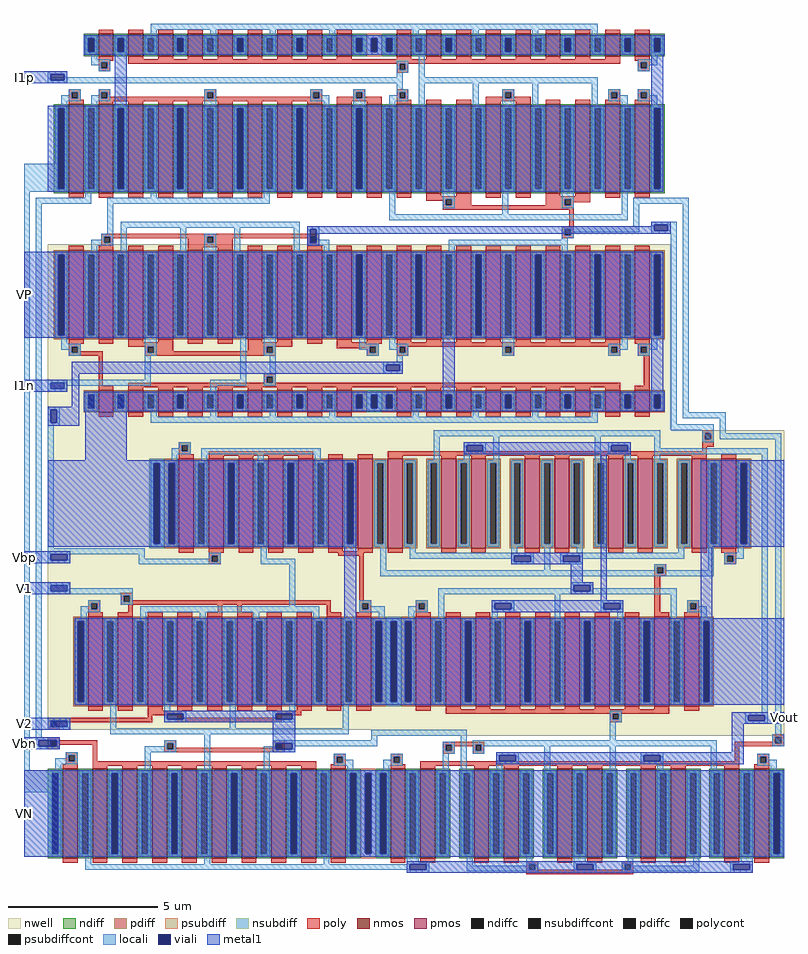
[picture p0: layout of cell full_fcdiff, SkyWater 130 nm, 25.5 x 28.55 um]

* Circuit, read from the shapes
.subckt full_fcdiff I1n I1p V1 V2 VN VP Vbn Vbp Vout
XM1 n1 VN VN VN sky130_fd_pr__nfet_01v8 w=3 l=0.5 m=4
XM2 Vbn VN VN VN sky130_fd_pr__nfet_01v8 w=3 l=0.5 m=2
XM3 VN Vbn n1 VN sky130_fd_pr__nfet_01v8 w=3 l=0.5 m=4
XM4 VN Vbn Vbn VN sky130_fd_pr__nfet_01v8 w=3 l=0.5 m=4
XM5 VN VN VN VN sky130_fd_pr__nfet_01v8 w=0.75 l=0.5 m=2
XM6 n2 Vbn VN VN sky130_fd_pr__nfet_01v8 w=3 l=0.5 m=4
XM7 biasgen_0/Vcp Vbn VN VN sky130_fd_pr__nfet_01v8 w=3 l=0.5 m=4
XM8 n3 I1p VN VN sky130_fd_pr__nfet_01v8 w=0.75 l=0.5 m=16
XM9 I1p VN VN VN sky130_fd_pr__nfet_01v8 w=3 l=0.5 m=2
XM10 n3 I1p I1p VN sky130_fd_pr__nfet_01v8 w=3 l=0.5 m=4
XM11 n4 biasgen_0/Vcn n1 VN sky130_fd_pr__nfet_01v8 w=3 l=0.5 m=4
XM12 biasgen_0/Vcn biasgen_0/Vcn n3 VN sky130_fd_pr__nfet_01v8 w=3 l=0.5 m=4
XM13 Vout biasgen_0/Vcn n2 VN sky130_fd_pr__nfet_01v8 w=3 l=0.5 m=4
XM14 biasgen_0/Vcp VP VP VP sky130_fd_pr__pfet_01v8 w=3 l=0.5 m=2
XM15 n1 VP VP VP sky130_fd_pr__pfet_01v8 w=3 l=0.5 m=2
XM16 VP VP VP VP sky130_fd_pr__pfet_01v8 w=0.75 l=0.5 m=2
XM17 n5 biasgen_0/Vcp biasgen_0/Vcp VP sky130_fd_pr__pfet_01v8 w=3 l=0.5 m=4
XM18 n6 V1 n1 VP sky130_fd_pr__pfet_01v8 w=3 l=0.5 m=4
XM19 n5 I1n VP VP sky130_fd_pr__pfet_01v8 w=0.75 l=0.5 m=16
XM20 I1n I1n n5 VP sky130_fd_pr__pfet_01v8 w=3 l=0.5 m=4
XM21 n2 V2 n6 VP sky130_fd_pr__pfet_01v8 w=3 l=0.5 m=4
XM22 n6 VP VP VP sky130_fd_pr__pfet_01v8 w=3 l=0.5 m=2
XM23 VP Vbp n6 VP sky130_fd_pr__pfet_01v8 w=3 l=0.5 m=4
XM24 n4 VP VP VP sky130_fd_pr__pfet_01v8 w=3 l=0.5 m=2
XM25 Vbp VP VP VP sky130_fd_pr__pfet_01v8 w=3 l=0.5 m=2
XM26 n7 biasgen_0/Vcp n4 VP sky130_fd_pr__pfet_01v8 w=3 l=0.5 m=4
XM27 VP Vbp Vbp VP sky130_fd_pr__pfet_01v8 w=3 l=0.5 m=4
XM28 n7 VP VP VP sky130_fd_pr__pfet_01v8 w=3 l=0.5 m=2
XM29 biasgen_0/Vcn Vbp VP VP sky130_fd_pr__pfet_01v8 w=3 l=0.5 m=4
XM30 n8 biasgen_0/Vcp Vout VP sky130_fd_pr__pfet_01v8 w=3 l=0.5 m=4
XM31 VP n4 n7 VP sky130_fd_pr__pfet_01v8 w=3 l=0.5 m=4
XM32 n8 n4 VP VP sky130_fd_pr__pfet_01v8 w=3 l=0.5 m=4
.ends

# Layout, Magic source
magic
tech sky130A
<< nwell >>
rect -980 1350 -940 1450
rect -980 1205 1110 1350
rect -855 1120 -715 1205
rect 1275 1190 1480 1210
rect -970 785 -915 805
<< locali >>
rect -980 2415 -915 2425
rect -980 2395 -970 2415
rect -925 2395 -915 2415
rect -980 2385 -915 2395
rect -1060 2020 -950 2115
rect -1060 80 -1040 2020
rect -1020 1980 -975 2000
rect 985 1980 1170 2000
rect -1020 190 -1000 1980
rect 1045 1880 1130 1920
rect -980 1235 -940 1300
rect 1110 1240 1130 1880
rect 1150 1280 1170 1980
rect 1150 1260 1295 1280
rect -980 825 -960 1235
rect 1110 1220 1255 1240
rect 1215 1180 1255 1220
rect 1275 1210 1295 1260
rect 1275 1190 1480 1210
rect -980 805 -905 815
rect -980 785 -970 805
rect -915 785 -905 805
rect -980 775 -905 785
rect 1460 200 1480 1190
rect -1020 180 -940 190
rect -1020 160 -1010 180
rect -950 160 -940 180
rect 1450 160 1490 200
rect -1020 150 -940 160
rect -1060 5 -975 80
<< viali >>
rect -970 2395 -925 2415
rect -970 785 -915 805
rect -1010 160 -950 180
<< metal1 >>
rect -1060 2415 -915 2425
rect -1060 2395 -970 2415
rect -925 2395 -915 2415
rect -1060 2385 -915 2395
rect -1060 1530 -960 1820
rect -1060 1350 -915 1390
rect -855 1120 -715 1350
rect -1060 805 -905 815
rect -1060 785 -970 805
rect -915 785 -905 805
rect -1060 775 -905 785
rect -1060 670 -905 710
rect -1060 215 -905 255
rect 1470 235 1490 275
rect -1060 180 -940 190
rect -1060 160 -1010 180
rect -950 160 -940 180
rect -1060 150 -940 160
rect -1060 -210 -935 80
use fcdiffamp  fcdiffamp_0
transform 1 0 -800 0 1 -490
box -180 220 2290 1710
use biasgen  biasgen_0
transform 1 0 -1040 0 1 2735
box 60 -1500 2150 -150
<< labels >>
rlabel metal1 -1060 2405 -1060 2405 7 I1p
rlabel metal1 -1060 1675 -1060 1675 7 VP
rlabel metal1 -1060 1370 -1060 1370 7 I1n
rlabel metal1 -1060 690 -1060 690 7 V1
rlabel metal1 -1060 235 -1060 235 7 V2
rlabel metal1 -1060 -65 -1060 -65 7 VN
rlabel metal1 1490 255 1490 255 3 Vout
rlabel metal1 -1060 170 -1060 170 7 Vbn
rlabel metal1 -1060 795 -1060 795 7 Vbp
<< end >>

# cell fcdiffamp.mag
magic
tech sky130A
<< nwell >>
rect -180 705 2290 1710
rect 905 685 2290 705
<< nmos >>
rect -130 275 -80 575
rect -30 275 20 575
rect 70 275 120 575
rect 170 275 220 575
rect 270 275 320 575
rect 370 275 420 575
rect 470 275 520 575
rect 570 275 620 575
rect 670 275 720 575
rect 770 275 820 575
rect 970 275 1020 575
rect 1070 275 1120 575
rect 1250 275 1300 575
rect 1350 275 1400 575
rect 1530 275 1580 575
rect 1630 275 1680 575
rect 1810 275 1860 575
rect 1910 275 1960 575
rect 2090 275 2140 575
rect 2190 275 2240 575
<< pmos >>
rect 260 1315 310 1615
rect 360 1315 410 1615
rect 460 1315 510 1615
rect 560 1315 610 1615
rect 660 1315 710 1615
rect 760 1315 810 1615
rect 860 1315 910 1615
rect 960 1315 1010 1615
rect 1140 1315 1190 1615
rect 1240 1315 1290 1615
rect 1420 1315 1470 1615
rect 1520 1315 1570 1615
rect 1700 1315 1750 1615
rect 1800 1315 1850 1615
rect 1980 1315 2030 1615
rect 2080 1315 2130 1615
rect -45 785 5 1085
rect 55 785 105 1085
rect 155 785 205 1085
rect 255 785 305 1085
rect 355 785 405 1085
rect 455 785 505 1085
rect 555 785 605 1085
rect 655 785 705 1085
rect 755 785 805 1085
rect 855 785 905 1085
rect 1055 785 1105 1085
rect 1155 785 1205 1085
rect 1255 785 1305 1085
rect 1355 785 1405 1085
rect 1455 785 1505 1085
rect 1555 785 1605 1085
rect 1655 785 1705 1085
rect 1755 785 1805 1085
rect 1855 785 1905 1085
rect 1955 785 2005 1085
<< ndiff >>
rect -180 560 -130 575
rect -180 290 -165 560
rect -145 290 -130 560
rect -180 275 -130 290
rect -80 560 -30 575
rect -80 290 -65 560
rect -45 290 -30 560
rect -80 275 -30 290
rect 20 560 70 575
rect 20 290 35 560
rect 55 290 70 560
rect 20 275 70 290
rect 120 560 170 575
rect 120 290 135 560
rect 155 290 170 560
rect 120 275 170 290
rect 220 560 270 575
rect 220 290 235 560
rect 255 290 270 560
rect 220 275 270 290
rect 320 560 370 575
rect 320 290 335 560
rect 355 290 370 560
rect 320 275 370 290
rect 420 560 470 575
rect 420 290 435 560
rect 455 290 470 560
rect 420 275 470 290
rect 520 560 570 575
rect 520 290 535 560
rect 555 290 570 560
rect 520 275 570 290
rect 620 560 670 575
rect 620 290 635 560
rect 655 290 670 560
rect 620 275 670 290
rect 720 560 770 575
rect 720 290 735 560
rect 755 290 770 560
rect 720 275 770 290
rect 820 560 870 575
rect 920 560 970 575
rect 820 290 835 560
rect 855 290 870 560
rect 920 290 935 560
rect 955 290 970 560
rect 820 275 870 290
rect 920 275 970 290
rect 1020 560 1070 575
rect 1020 290 1035 560
rect 1055 290 1070 560
rect 1020 275 1070 290
rect 1120 560 1170 575
rect 1120 290 1135 560
rect 1155 290 1170 560
rect 1120 275 1170 290
rect 1200 560 1250 575
rect 1200 290 1215 560
rect 1235 290 1250 560
rect 1200 275 1250 290
rect 1300 560 1350 575
rect 1300 290 1315 560
rect 1335 290 1350 560
rect 1300 275 1350 290
rect 1400 560 1450 575
rect 1400 290 1415 560
rect 1435 290 1450 560
rect 1400 275 1450 290
rect 1480 560 1530 575
rect 1480 290 1495 560
rect 1515 290 1530 560
rect 1480 275 1530 290
rect 1580 560 1630 575
rect 1580 290 1595 560
rect 1615 290 1630 560
rect 1580 275 1630 290
rect 1680 560 1730 575
rect 1680 290 1695 560
rect 1715 290 1730 560
rect 1680 275 1730 290
rect 1760 560 1810 575
rect 1760 290 1775 560
rect 1795 290 1810 560
rect 1760 275 1810 290
rect 1860 560 1910 575
rect 1860 290 1875 560
rect 1895 290 1910 560
rect 1860 275 1910 290
rect 1960 560 2010 575
rect 1960 290 1975 560
rect 1995 290 2010 560
rect 1960 275 2010 290
rect 2040 560 2090 575
rect 2040 290 2055 560
rect 2075 290 2090 560
rect 2040 275 2090 290
rect 2140 560 2190 575
rect 2140 290 2155 560
rect 2175 290 2190 560
rect 2140 275 2190 290
rect 2240 560 2290 575
rect 2240 290 2255 560
rect 2275 290 2290 560
rect 2240 275 2290 290
<< pdiff >>
rect 210 1600 260 1615
rect 210 1330 225 1600
rect 245 1330 260 1600
rect 210 1315 260 1330
rect 310 1600 360 1615
rect 310 1330 325 1600
rect 345 1330 360 1600
rect 310 1315 360 1330
rect 410 1600 460 1615
rect 410 1330 425 1600
rect 445 1330 460 1600
rect 410 1315 460 1330
rect 510 1600 560 1615
rect 510 1330 525 1600
rect 545 1330 560 1600
rect 510 1315 560 1330
rect 610 1600 660 1615
rect 610 1330 625 1600
rect 645 1330 660 1600
rect 610 1315 660 1330
rect 710 1600 760 1615
rect 710 1330 725 1600
rect 745 1330 760 1600
rect 710 1315 760 1330
rect 810 1600 860 1615
rect 810 1330 825 1600
rect 845 1330 860 1600
rect 810 1315 860 1330
rect 910 1600 960 1615
rect 910 1330 925 1600
rect 945 1330 960 1600
rect 910 1315 960 1330
rect 1010 1600 1060 1615
rect 1010 1330 1025 1600
rect 1045 1330 1060 1600
rect 1010 1315 1060 1330
rect 1090 1600 1140 1615
rect 1090 1330 1105 1600
rect 1125 1330 1140 1600
rect 1090 1315 1140 1330
rect 1190 1600 1240 1615
rect 1190 1330 1205 1600
rect 1225 1330 1240 1600
rect 1190 1315 1240 1330
rect 1290 1600 1340 1615
rect 1290 1330 1305 1600
rect 1325 1330 1340 1600
rect 1290 1315 1340 1330
rect 1370 1600 1420 1615
rect 1370 1330 1385 1600
rect 1405 1330 1420 1600
rect 1370 1315 1420 1330
rect 1470 1600 1520 1615
rect 1470 1330 1485 1600
rect 1505 1330 1520 1600
rect 1470 1315 1520 1330
rect 1570 1600 1620 1615
rect 1570 1330 1585 1600
rect 1605 1330 1620 1600
rect 1570 1315 1620 1330
rect 1650 1600 1700 1615
rect 1650 1330 1665 1600
rect 1685 1330 1700 1600
rect 1650 1315 1700 1330
rect 1750 1600 1800 1615
rect 1750 1330 1765 1600
rect 1785 1330 1800 1600
rect 1750 1315 1800 1330
rect 1850 1600 1900 1615
rect 1850 1330 1865 1600
rect 1885 1330 1900 1600
rect 1850 1315 1900 1330
rect 1930 1600 1980 1615
rect 1930 1330 1945 1600
rect 1965 1330 1980 1600
rect 1930 1315 1980 1330
rect 2030 1600 2080 1615
rect 2030 1330 2045 1600
rect 2065 1330 2080 1600
rect 2030 1315 2080 1330
rect 2130 1600 2180 1615
rect 2130 1330 2145 1600
rect 2165 1330 2180 1600
rect 2130 1315 2180 1330
rect -95 1070 -45 1085
rect -95 800 -80 1070
rect -60 800 -45 1070
rect -95 785 -45 800
rect 5 1070 55 1085
rect 5 800 20 1070
rect 40 800 55 1070
rect 5 785 55 800
rect 105 1070 155 1085
rect 105 800 120 1070
rect 140 800 155 1070
rect 105 785 155 800
rect 205 1070 255 1085
rect 205 800 220 1070
rect 240 800 255 1070
rect 205 785 255 800
rect 305 1070 355 1085
rect 305 800 320 1070
rect 340 800 355 1070
rect 305 785 355 800
rect 405 1070 455 1085
rect 405 800 420 1070
rect 440 800 455 1070
rect 405 785 455 800
rect 505 1070 555 1085
rect 505 800 520 1070
rect 540 800 555 1070
rect 505 785 555 800
rect 605 1070 655 1085
rect 605 800 620 1070
rect 640 800 655 1070
rect 605 785 655 800
rect 705 1070 755 1085
rect 705 800 720 1070
rect 740 800 755 1070
rect 705 785 755 800
rect 805 1070 855 1085
rect 805 800 820 1070
rect 840 800 855 1070
rect 805 785 855 800
rect 905 1070 955 1085
rect 1005 1070 1055 1085
rect 905 800 920 1070
rect 940 800 955 1070
rect 1005 800 1020 1070
rect 1040 800 1055 1070
rect 905 785 955 800
rect 1005 785 1055 800
rect 1105 1070 1155 1085
rect 1105 800 1120 1070
rect 1140 800 1155 1070
rect 1105 785 1155 800
rect 1205 1070 1255 1085
rect 1205 800 1220 1070
rect 1240 800 1255 1070
rect 1205 785 1255 800
rect 1305 1070 1355 1085
rect 1305 800 1320 1070
rect 1340 800 1355 1070
rect 1305 785 1355 800
rect 1405 1070 1455 1085
rect 1405 800 1420 1070
rect 1440 800 1455 1070
rect 1405 785 1455 800
rect 1505 1070 1555 1085
rect 1505 800 1520 1070
rect 1540 800 1555 1070
rect 1505 785 1555 800
rect 1605 1070 1655 1085
rect 1605 800 1620 1070
rect 1640 800 1655 1070
rect 1605 785 1655 800
rect 1705 1070 1755 1085
rect 1705 800 1720 1070
rect 1740 800 1755 1070
rect 1705 785 1755 800
rect 1805 1070 1855 1085
rect 1805 800 1820 1070
rect 1840 800 1855 1070
rect 1805 785 1855 800
rect 1905 1070 1955 1085
rect 1905 800 1920 1070
rect 1940 800 1955 1070
rect 1905 785 1955 800
rect 2005 1070 2055 1085
rect 2005 800 2020 1070
rect 2040 800 2055 1070
rect 2005 785 2055 800
<< ndiffc >>
rect -165 290 -145 560
rect -65 290 -45 560
rect 35 290 55 560
rect 135 290 155 560
rect 235 290 255 560
rect 335 290 355 560
rect 435 290 455 560
rect 535 290 555 560
rect 635 290 655 560
rect 735 290 755 560
rect 835 290 855 560
rect 935 290 955 560
rect 1035 290 1055 560
rect 1135 290 1155 560
rect 1215 290 1235 560
rect 1315 290 1335 560
rect 1415 290 1435 560
rect 1495 290 1515 560
rect 1595 290 1615 560
rect 1695 290 1715 560
rect 1775 290 1795 560
rect 1875 290 1895 560
rect 1975 290 1995 560
rect 2055 290 2075 560
rect 2155 290 2175 560
rect 2255 290 2275 560
<< pdiffc >>
rect 225 1330 245 1600
rect 325 1330 345 1600
rect 425 1330 445 1600
rect 525 1330 545 1600
rect 625 1330 645 1600
rect 725 1330 745 1600
rect 825 1330 845 1600
rect 925 1330 945 1600
rect 1025 1330 1045 1600
rect 1105 1330 1125 1600
rect 1205 1330 1225 1600
rect 1305 1330 1325 1600
rect 1385 1330 1405 1600
rect 1485 1330 1505 1600
rect 1585 1330 1605 1600
rect 1665 1330 1685 1600
rect 1765 1330 1785 1600
rect 1865 1330 1885 1600
rect 1945 1330 1965 1600
rect 2045 1330 2065 1600
rect 2145 1330 2165 1600
rect -80 800 -60 1070
rect 20 800 40 1070
rect 120 800 140 1070
rect 220 800 240 1070
rect 320 800 340 1070
rect 420 800 440 1070
rect 520 800 540 1070
rect 620 800 640 1070
rect 720 800 740 1070
rect 820 800 840 1070
rect 920 800 940 1070
rect 1020 800 1040 1070
rect 1120 800 1140 1070
rect 1220 800 1240 1070
rect 1320 800 1340 1070
rect 1420 800 1440 1070
rect 1520 800 1540 1070
rect 1620 800 1640 1070
rect 1720 800 1740 1070
rect 1820 800 1840 1070
rect 1920 800 1940 1070
rect 2020 800 2040 1070
<< psubdiff >>
rect 870 560 920 575
rect 870 290 885 560
rect 905 290 920 560
rect 870 275 920 290
<< nsubdiff >>
rect 160 1600 210 1615
rect 160 1330 175 1600
rect 195 1330 210 1600
rect 160 1315 210 1330
rect 955 1070 1005 1085
rect 955 800 970 1070
rect 990 800 1005 1070
rect 955 785 1005 800
<< psubdiffcont >>
rect 885 290 905 560
<< nsubdiffcont >>
rect 175 1330 195 1600
rect 970 800 990 1070
<< poly >>
rect 2015 1700 2055 1710
rect 2015 1680 2025 1700
rect 2045 1680 2055 1700
rect 260 1660 300 1670
rect 260 1640 270 1660
rect 290 1640 300 1660
rect 2015 1655 2055 1680
rect 2015 1640 2030 1655
rect 260 1630 300 1640
rect 260 1615 310 1630
rect 360 1625 710 1640
rect 360 1615 410 1625
rect 460 1615 510 1625
rect 560 1615 610 1625
rect 660 1615 710 1625
rect 760 1615 810 1630
rect 860 1615 910 1630
rect 960 1625 2030 1640
rect 960 1615 1010 1625
rect 1140 1615 1190 1625
rect 1240 1615 1290 1625
rect 1420 1615 1470 1625
rect 1520 1615 1570 1625
rect 1700 1615 1750 1625
rect 1800 1615 1850 1625
rect 1980 1615 2030 1625
rect 2080 1615 2130 1630
rect 260 1300 310 1315
rect 360 1300 410 1315
rect 460 1300 510 1315
rect 560 1300 610 1315
rect 660 1300 710 1315
rect 760 1305 810 1315
rect 860 1305 910 1315
rect 760 1300 910 1305
rect 960 1300 1010 1315
rect 1140 1300 1190 1315
rect 1240 1300 1290 1315
rect 1420 1300 1470 1315
rect 1520 1300 1570 1315
rect 1700 1300 1750 1315
rect 1800 1300 1850 1315
rect 1980 1300 2030 1315
rect 2080 1300 2130 1315
rect 360 1290 400 1300
rect 795 1290 880 1300
rect 360 1270 370 1290
rect 390 1270 400 1290
rect 360 1260 400 1270
rect 65 1155 105 1165
rect -45 1130 -5 1140
rect -45 1110 -35 1130
rect -15 1110 -5 1130
rect 65 1135 75 1155
rect 95 1140 105 1155
rect 865 1140 880 1290
rect 2090 1290 2130 1300
rect 2090 1270 2100 1290
rect 2120 1270 2130 1290
rect 2090 1260 2130 1270
rect 1855 1250 1895 1260
rect 1855 1230 1865 1250
rect 1885 1230 1895 1250
rect 1855 1220 1895 1230
rect 95 1135 770 1140
rect 65 1125 770 1135
rect -45 1100 -5 1110
rect 90 1100 105 1125
rect 390 1100 405 1125
rect -45 1085 5 1100
rect 55 1085 105 1100
rect 155 1085 205 1100
rect 255 1085 305 1100
rect 355 1085 405 1100
rect 455 1100 470 1125
rect 755 1100 770 1125
rect 865 1130 905 1140
rect 865 1110 875 1130
rect 895 1110 905 1130
rect 865 1100 905 1110
rect 455 1085 505 1100
rect 555 1085 605 1100
rect 655 1085 705 1100
rect 755 1085 805 1100
rect 855 1085 905 1100
rect 1055 1130 1095 1140
rect 1055 1110 1065 1130
rect 1085 1110 1095 1130
rect 1055 1100 1095 1110
rect 1855 1100 1875 1220
rect 1965 1130 2005 1140
rect 1965 1110 1975 1130
rect 1995 1110 2005 1130
rect 1965 1100 2005 1110
rect 1055 1085 1105 1100
rect 1155 1085 1205 1100
rect 1255 1085 1305 1100
rect 1355 1085 1405 1100
rect 1455 1085 1505 1100
rect 1555 1085 1605 1100
rect 1655 1085 1705 1100
rect 1755 1085 1805 1100
rect 1855 1085 1905 1100
rect 1955 1085 2005 1100
rect -45 770 5 785
rect 55 770 105 785
rect 155 770 205 785
rect 255 770 305 785
rect 355 770 405 785
rect 455 770 505 785
rect 555 770 605 785
rect 655 770 705 785
rect 755 770 805 785
rect 855 770 905 785
rect 1055 770 1105 785
rect 1155 775 1205 785
rect 1255 775 1305 785
rect 1355 775 1405 785
rect 1455 775 1505 785
rect 1555 775 1605 785
rect 1655 775 1705 785
rect 1755 775 1805 785
rect 1855 775 1905 785
rect 155 755 270 770
rect 155 745 170 755
rect -180 735 170 745
rect -180 715 -170 735
rect -150 730 170 735
rect 255 745 270 755
rect 590 755 670 770
rect 1155 760 1905 775
rect 1955 770 2005 785
rect 590 745 605 755
rect 255 730 605 745
rect 1705 740 1715 760
rect 1735 740 1745 760
rect 1705 730 1745 740
rect -150 715 -140 730
rect -180 705 -140 715
rect 2250 680 2290 690
rect -180 670 -140 680
rect -180 650 -170 670
rect -150 655 -15 670
rect -150 650 -140 655
rect -180 640 -140 650
rect -120 620 -80 630
rect -120 600 -110 620
rect -90 600 -80 620
rect -120 590 -80 600
rect -130 575 -80 590
rect -30 600 -15 655
rect 210 660 250 670
rect 210 640 220 660
rect 240 645 250 660
rect 575 660 615 670
rect 2250 665 2260 680
rect 575 645 585 660
rect 240 640 585 645
rect 605 640 615 660
rect 210 630 615 640
rect 1145 655 1285 665
rect 1145 635 1155 655
rect 1175 650 1255 655
rect 1175 635 1185 650
rect 1145 625 1185 635
rect 1245 635 1255 650
rect 1275 635 1285 655
rect 1245 625 1285 635
rect 2125 660 2260 665
rect 2280 660 2290 680
rect 2125 650 2290 660
rect 780 615 820 625
rect -30 585 720 600
rect 780 595 790 615
rect 810 595 820 615
rect 780 590 820 595
rect -30 575 20 585
rect 70 575 120 585
rect 170 575 220 585
rect 270 575 320 585
rect 370 575 420 585
rect 470 575 520 585
rect 570 575 620 585
rect 670 575 720 585
rect 770 575 820 590
rect 970 615 1010 625
rect 970 595 980 615
rect 1000 595 1010 615
rect 2125 600 2140 650
rect 970 590 1010 595
rect 970 575 1020 590
rect 1070 585 2140 600
rect 2200 615 2240 625
rect 2200 595 2210 615
rect 2230 595 2240 615
rect 2200 590 2240 595
rect 1070 575 1120 585
rect 1250 575 1300 585
rect 1350 575 1400 585
rect 1530 575 1580 585
rect 1630 575 1680 585
rect 1810 575 1860 585
rect 1910 575 1960 585
rect 2090 575 2140 585
rect 2190 575 2240 590
rect -130 260 -80 275
rect -30 260 20 275
rect 70 260 120 275
rect 170 260 220 275
rect 270 260 320 275
rect 370 260 420 275
rect 470 260 520 275
rect 570 260 620 275
rect 670 260 720 275
rect 770 260 820 275
rect 970 260 1020 275
rect 1070 260 1120 275
rect 1250 260 1300 275
rect 1350 260 1400 275
rect 1425 255 1465 265
rect 1530 260 1580 275
rect 1630 260 1680 275
rect 1425 235 1435 255
rect 1455 235 1465 255
rect 1745 255 1785 265
rect 1810 260 1860 275
rect 1910 260 1960 275
rect 2090 260 2140 275
rect 2190 260 2240 275
rect 1745 235 1755 255
rect 1775 235 1785 255
rect 1425 220 1785 235
<< polycont >>
rect 2025 1680 2045 1700
rect 270 1640 290 1660
rect 370 1270 390 1290
rect -35 1110 -15 1130
rect 75 1135 95 1155
rect 2100 1270 2120 1290
rect 1865 1230 1885 1250
rect 875 1110 895 1130
rect 1065 1110 1085 1130
rect 1975 1110 1995 1130
rect -170 715 -150 735
rect 1715 740 1735 760
rect -170 650 -150 670
rect -110 600 -90 620
rect 220 640 240 660
rect 585 640 605 660
rect 1155 635 1175 655
rect 1255 635 1275 655
rect 2260 660 2280 680
rect 790 595 810 615
rect 980 595 1000 615
rect 2210 595 2230 615
rect 1435 235 1455 255
rect 1755 235 1775 255
<< locali >>
rect 1115 1690 1875 1710
rect 260 1660 300 1670
rect 260 1650 270 1660
rect 235 1640 270 1650
rect 290 1640 300 1660
rect 235 1630 300 1640
rect 335 1630 735 1650
rect 235 1610 255 1630
rect 335 1610 355 1630
rect 525 1610 545 1630
rect 715 1610 735 1630
rect 1115 1610 1135 1690
rect 1215 1660 1290 1670
rect 1215 1640 1225 1660
rect 1280 1640 1290 1660
rect 1215 1630 1290 1640
rect 1215 1610 1235 1630
rect 1315 1610 1335 1690
rect 1655 1610 1675 1690
rect 1700 1660 1775 1670
rect 1700 1640 1710 1660
rect 1765 1640 1775 1660
rect 1700 1630 1775 1640
rect 1755 1610 1775 1630
rect 1855 1650 1875 1690
rect 2015 1700 2055 1710
rect 2015 1680 2025 1700
rect 2045 1680 2055 1700
rect 2015 1670 2055 1680
rect 1855 1630 2235 1650
rect 1855 1610 1875 1630
rect 165 1600 255 1610
rect 165 1330 175 1600
rect 195 1330 225 1600
rect 245 1330 255 1600
rect 165 1320 255 1330
rect 315 1600 355 1610
rect 315 1330 325 1600
rect 345 1330 355 1600
rect 315 1320 355 1330
rect 415 1600 455 1610
rect 415 1330 425 1600
rect 445 1330 455 1600
rect 415 1320 455 1330
rect 515 1600 555 1610
rect 515 1330 525 1600
rect 545 1330 555 1600
rect 515 1320 555 1330
rect 615 1600 655 1610
rect 615 1330 625 1600
rect 645 1330 655 1600
rect 615 1320 655 1330
rect 715 1600 755 1610
rect 715 1330 725 1600
rect 745 1330 755 1600
rect 715 1320 755 1330
rect 815 1600 855 1610
rect 815 1330 825 1600
rect 845 1330 855 1600
rect 815 1320 855 1330
rect 915 1600 955 1610
rect 915 1330 925 1600
rect 945 1330 955 1600
rect 915 1320 955 1330
rect 1015 1600 1055 1610
rect 1015 1330 1025 1600
rect 1045 1330 1055 1600
rect 1015 1320 1055 1330
rect 1095 1600 1135 1610
rect 1095 1330 1105 1600
rect 1125 1330 1135 1600
rect 1095 1320 1135 1330
rect 1195 1600 1235 1610
rect 1195 1330 1205 1600
rect 1225 1330 1235 1600
rect 1195 1320 1235 1330
rect 1295 1600 1335 1610
rect 1295 1330 1305 1600
rect 1325 1330 1335 1600
rect 1295 1320 1335 1330
rect 1375 1600 1415 1610
rect 1375 1330 1385 1600
rect 1405 1330 1415 1600
rect 1375 1320 1415 1330
rect 1475 1600 1515 1610
rect 1475 1330 1485 1600
rect 1505 1330 1515 1600
rect 1475 1320 1515 1330
rect 1575 1600 1615 1610
rect 1575 1330 1585 1600
rect 1605 1330 1615 1600
rect 1575 1320 1615 1330
rect 1655 1600 1695 1610
rect 1655 1330 1665 1600
rect 1685 1330 1695 1600
rect 1655 1320 1695 1330
rect 1755 1600 1795 1610
rect 1755 1330 1765 1600
rect 1785 1330 1795 1600
rect 1755 1320 1795 1330
rect 1855 1600 1895 1610
rect 1855 1330 1865 1600
rect 1885 1330 1895 1600
rect 1855 1320 1895 1330
rect 1935 1600 1975 1610
rect 1935 1330 1945 1600
rect 1965 1330 1975 1600
rect 1935 1320 1975 1330
rect 2035 1600 2075 1610
rect 2035 1330 2045 1600
rect 2065 1330 2075 1600
rect 2035 1320 2075 1330
rect 2135 1600 2175 1610
rect 2135 1330 2145 1600
rect 2165 1330 2175 1600
rect 2135 1320 2175 1330
rect -180 1295 145 1315
rect 125 1280 145 1295
rect 360 1290 400 1300
rect 360 1280 370 1290
rect 125 1270 370 1280
rect 390 1270 400 1290
rect 125 1260 400 1270
rect 535 1280 555 1320
rect 535 1260 650 1280
rect -180 1190 -105 1200
rect -180 1170 -170 1190
rect -115 1180 -105 1190
rect -115 1170 105 1180
rect -180 1160 105 1170
rect 65 1155 105 1160
rect -45 1130 -5 1140
rect -45 1120 -35 1130
rect -70 1110 -35 1120
rect -15 1110 -5 1130
rect 65 1135 75 1155
rect 95 1135 105 1155
rect 65 1125 105 1135
rect 630 1120 650 1260
rect 935 1240 955 1320
rect 1035 1300 1055 1320
rect 1375 1300 1395 1320
rect 1035 1290 1450 1300
rect 1035 1280 1385 1290
rect 1375 1270 1385 1280
rect 1440 1270 1450 1290
rect 1375 1260 1450 1270
rect 1485 1240 1505 1320
rect 1595 1300 1615 1320
rect 1935 1300 1955 1320
rect 1540 1290 1955 1300
rect 1540 1270 1550 1290
rect 1605 1280 1955 1290
rect 1605 1270 1615 1280
rect 1540 1260 1615 1270
rect 1855 1250 1895 1260
rect 1855 1240 1865 1250
rect 935 1230 1865 1240
rect 1885 1240 1895 1250
rect 2035 1240 2055 1320
rect 2135 1300 2155 1320
rect 2090 1290 2155 1300
rect 2090 1270 2100 1290
rect 2120 1280 2155 1290
rect 2120 1270 2130 1280
rect 2090 1260 2130 1270
rect 1885 1230 2055 1240
rect 935 1220 2055 1230
rect 1575 1190 1650 1200
rect 1575 1180 1585 1190
rect 1130 1170 1585 1180
rect 1640 1180 1650 1190
rect 1640 1170 1930 1180
rect 1130 1160 1930 1170
rect 865 1130 905 1140
rect -70 1100 -5 1110
rect 130 1100 730 1120
rect 865 1110 875 1130
rect 895 1120 905 1130
rect 1055 1130 1095 1140
rect 1055 1120 1065 1130
rect 895 1110 950 1120
rect 865 1100 950 1110
rect -70 1080 -50 1100
rect 130 1080 150 1100
rect 330 1080 350 1100
rect 510 1080 530 1100
rect 710 1080 730 1100
rect 930 1080 950 1100
rect 1030 1110 1065 1120
rect 1085 1110 1095 1130
rect 1030 1100 1095 1110
rect 1030 1080 1050 1100
rect 1130 1080 1150 1160
rect 1310 1130 1385 1140
rect 1310 1110 1320 1130
rect 1375 1110 1385 1130
rect 1310 1100 1385 1110
rect 1310 1080 1330 1100
rect 1520 1080 1540 1160
rect 1675 1130 1750 1140
rect 1675 1110 1685 1130
rect 1740 1110 1750 1130
rect 1675 1100 1750 1110
rect 1730 1080 1750 1100
rect 1910 1080 1930 1160
rect 1965 1130 2005 1140
rect 1965 1110 1975 1130
rect 1995 1120 2005 1130
rect 1995 1110 2030 1120
rect 1965 1100 2030 1110
rect 2010 1080 2030 1100
rect -90 1070 -50 1080
rect -90 800 -80 1070
rect -60 800 -50 1070
rect -90 790 -50 800
rect 10 1070 50 1080
rect 10 800 20 1070
rect 40 800 50 1070
rect 10 790 50 800
rect 110 1070 150 1080
rect 110 800 120 1070
rect 140 800 150 1070
rect 110 790 150 800
rect 210 1070 250 1080
rect 210 800 220 1070
rect 240 800 250 1070
rect 210 790 250 800
rect 310 1070 350 1080
rect 310 800 320 1070
rect 340 800 350 1070
rect 310 790 350 800
rect 410 1070 450 1080
rect 410 800 420 1070
rect 440 800 450 1070
rect 410 790 450 800
rect 510 1070 550 1080
rect 510 800 520 1070
rect 540 800 550 1070
rect 510 790 550 800
rect 610 1070 650 1080
rect 610 800 620 1070
rect 640 800 650 1070
rect 610 790 650 800
rect 710 1070 750 1080
rect 710 800 720 1070
rect 740 800 750 1070
rect 710 790 750 800
rect 810 1070 850 1080
rect 810 800 820 1070
rect 840 800 850 1070
rect 810 790 850 800
rect 910 1070 1050 1080
rect 910 800 920 1070
rect 940 800 970 1070
rect 990 800 1020 1070
rect 1040 800 1050 1070
rect 910 790 1050 800
rect 1110 1070 1150 1080
rect 1110 800 1120 1070
rect 1140 800 1150 1070
rect 1110 790 1150 800
rect 1210 1070 1250 1080
rect 1210 800 1220 1070
rect 1240 800 1250 1070
rect 1210 790 1250 800
rect 1310 1070 1350 1080
rect 1310 800 1320 1070
rect 1340 800 1350 1070
rect 1310 790 1350 800
rect 1410 1070 1450 1080
rect 1410 800 1420 1070
rect 1440 800 1450 1070
rect 1410 790 1450 800
rect 1510 1070 1550 1080
rect 1510 800 1520 1070
rect 1540 800 1550 1070
rect 1510 790 1550 800
rect 1610 1070 1650 1080
rect 1610 800 1620 1070
rect 1640 800 1650 1070
rect 1610 790 1650 800
rect 1710 1070 1750 1080
rect 1710 800 1720 1070
rect 1740 800 1750 1070
rect 1710 790 1750 800
rect 1810 1070 1850 1080
rect 1810 800 1820 1070
rect 1840 800 1850 1070
rect 1810 790 1850 800
rect 1910 1070 1950 1080
rect 1910 800 1920 1070
rect 1940 800 1950 1070
rect 1910 790 1950 800
rect 2010 1070 2050 1080
rect 2010 800 2020 1070
rect 2040 800 2050 1070
rect 2010 790 2050 800
rect -180 735 -105 745
rect -180 715 -170 735
rect -115 715 -105 735
rect -180 705 -105 715
rect 30 710 50 790
rect 210 770 230 790
rect 210 760 285 770
rect 210 740 220 760
rect 275 740 285 760
rect 210 730 285 740
rect 430 710 450 790
rect 630 770 650 790
rect 575 760 650 770
rect 575 740 585 760
rect 640 740 650 760
rect 575 730 650 740
rect 810 710 830 790
rect 30 690 830 710
rect 1705 760 1745 770
rect 2215 765 2235 1630
rect 1705 740 1715 760
rect 1735 740 1745 760
rect 1705 730 1745 740
rect 2160 755 2235 765
rect 2160 735 2170 755
rect 2225 735 2235 755
rect -180 670 -140 680
rect -180 650 -170 670
rect -150 650 -140 670
rect 210 660 250 670
rect 210 650 220 660
rect -180 640 -140 650
rect 145 640 220 650
rect 240 640 250 660
rect 145 630 250 640
rect -120 620 -80 630
rect -120 610 -110 620
rect -155 600 -110 610
rect -90 600 -80 620
rect -155 590 -80 600
rect -155 570 -135 590
rect 145 570 165 630
rect 345 570 365 690
rect 905 685 1225 705
rect 905 670 925 685
rect 575 660 925 670
rect 575 650 585 660
rect 545 640 585 650
rect 640 650 925 660
rect 1145 655 1185 665
rect 640 640 650 650
rect 545 630 650 640
rect 1145 635 1155 655
rect 1175 635 1185 655
rect 545 570 565 630
rect 1145 625 1185 635
rect 780 615 820 625
rect 780 595 790 615
rect 810 605 820 615
rect 970 615 1010 625
rect 970 605 980 615
rect 810 595 845 605
rect 780 585 845 595
rect 825 570 845 585
rect 945 595 980 605
rect 1000 595 1010 615
rect 945 585 1010 595
rect 945 570 965 585
rect 1145 570 1165 625
rect -180 560 -135 570
rect -180 290 -165 560
rect -145 290 -135 560
rect -180 280 -135 290
rect -75 560 -35 570
rect -75 290 -65 560
rect -45 290 -35 560
rect -75 280 -35 290
rect 25 560 65 570
rect 25 290 35 560
rect 55 290 65 560
rect 25 280 65 290
rect 125 560 165 570
rect 125 290 135 560
rect 155 290 165 560
rect 125 280 165 290
rect 225 560 265 570
rect 225 290 235 560
rect 255 290 265 560
rect 225 280 265 290
rect 325 560 365 570
rect 325 290 335 560
rect 355 290 365 560
rect 325 280 365 290
rect 425 560 465 570
rect 425 290 435 560
rect 455 290 465 560
rect 425 280 465 290
rect 525 560 565 570
rect 525 290 535 560
rect 555 290 565 560
rect 525 280 565 290
rect 625 560 665 570
rect 625 290 635 560
rect 655 290 665 560
rect 625 280 665 290
rect 725 560 765 570
rect 725 290 735 560
rect 755 290 765 560
rect 725 280 765 290
rect 825 560 965 570
rect 825 290 835 560
rect 855 290 885 560
rect 905 290 935 560
rect 955 290 965 560
rect 825 280 965 290
rect 1025 560 1065 570
rect 1025 290 1035 560
rect 1055 290 1065 560
rect -55 255 -35 280
rect 345 255 365 280
rect 745 255 765 280
rect 1025 265 1065 290
rect 1125 560 1165 570
rect 1125 290 1135 560
rect 1155 290 1165 560
rect 1125 280 1165 290
rect 1205 570 1225 685
rect 1705 670 1725 730
rect 2160 725 2235 735
rect 2250 680 2290 690
rect 1245 655 2065 670
rect 1245 635 1255 655
rect 1275 650 2065 655
rect 2250 660 2260 680
rect 2280 660 2290 680
rect 2250 650 2290 660
rect 1275 635 1285 650
rect 1245 625 1285 635
rect 1325 620 1400 630
rect 1325 600 1335 620
rect 1390 600 1400 620
rect 1325 590 1400 600
rect 1325 570 1345 590
rect 1485 570 1505 650
rect 1705 570 1725 650
rect 1810 620 1885 630
rect 1810 600 1820 620
rect 1875 600 1885 620
rect 1810 590 1885 600
rect 1865 570 1885 590
rect 2045 570 2065 650
rect 2200 615 2240 625
rect 2200 595 2210 615
rect 2230 605 2240 615
rect 2230 595 2265 605
rect 2200 585 2265 595
rect 2245 570 2265 585
rect 1205 560 1245 570
rect 1205 290 1215 560
rect 1235 290 1245 560
rect 1205 280 1245 290
rect 1305 560 1345 570
rect 1305 290 1315 560
rect 1335 290 1345 560
rect 1305 280 1345 290
rect 1405 560 1445 570
rect 1405 290 1415 560
rect 1435 290 1445 560
rect 1405 280 1445 290
rect 1485 560 1525 570
rect 1485 290 1495 560
rect 1515 290 1525 560
rect 1485 280 1525 290
rect 1585 560 1625 570
rect 1585 290 1595 560
rect 1615 290 1625 560
rect 1025 255 1100 265
rect -55 235 1035 255
rect 1090 235 1100 255
rect 1025 225 1100 235
rect 1225 250 1245 280
rect 1425 265 1445 280
rect 1585 265 1625 290
rect 1685 560 1725 570
rect 1685 290 1695 560
rect 1715 290 1725 560
rect 1685 280 1725 290
rect 1765 560 1805 570
rect 1765 290 1775 560
rect 1795 290 1805 560
rect 1765 280 1805 290
rect 1865 560 1905 570
rect 1865 290 1875 560
rect 1895 290 1905 560
rect 1865 280 1905 290
rect 1965 560 2005 570
rect 1965 290 1975 560
rect 1995 290 2005 560
rect 1965 280 2005 290
rect 2045 560 2085 570
rect 2045 290 2055 560
rect 2075 290 2085 560
rect 2045 280 2085 290
rect 2145 560 2185 570
rect 2145 290 2155 560
rect 2175 290 2185 560
rect 1765 265 1785 280
rect 1425 255 1465 265
rect 1425 250 1435 255
rect 1225 235 1435 250
rect 1455 235 1465 255
rect 1225 230 1465 235
rect 1425 225 1465 230
rect 1585 255 1660 265
rect 1585 235 1595 255
rect 1650 235 1660 255
rect 1585 225 1660 235
rect 1745 255 1785 265
rect 1745 235 1755 255
rect 1775 250 1785 255
rect 1985 250 2005 280
rect 2145 265 2185 290
rect 2245 560 2285 570
rect 2245 290 2255 560
rect 2275 290 2285 560
rect 2245 280 2285 290
rect 1775 235 2005 250
rect 1745 230 2005 235
rect 2110 255 2185 265
rect 2110 235 2120 255
rect 2175 235 2185 255
rect 1745 225 1785 230
rect 2110 225 2185 235
<< viali >>
rect 1225 1640 1280 1660
rect 1710 1640 1765 1660
rect 175 1330 195 1600
rect 225 1330 245 1600
rect 425 1330 445 1600
rect 625 1330 645 1600
rect 825 1330 845 1600
rect 2145 1330 2165 1600
rect -170 1170 -115 1190
rect 1385 1270 1440 1290
rect 1550 1270 1605 1290
rect 1585 1170 1640 1190
rect 1320 1110 1375 1130
rect 1685 1110 1740 1130
rect -80 800 -60 1070
rect 920 800 940 1070
rect 970 800 990 1070
rect 1020 800 1040 1070
rect 1220 800 1240 1070
rect 1420 800 1440 1070
rect 1620 800 1640 1070
rect 1820 800 1840 1070
rect 2020 800 2040 1070
rect -170 715 -150 735
rect -150 715 -115 735
rect 220 740 275 760
rect 585 740 640 760
rect 2170 735 2225 755
rect 585 640 605 660
rect 605 640 640 660
rect -165 290 -145 560
rect 35 290 55 560
rect 235 290 255 560
rect 435 290 455 560
rect 635 290 655 560
rect 835 290 855 560
rect 885 290 905 560
rect 935 290 955 560
rect 1335 600 1390 620
rect 1820 600 1875 620
rect 1035 235 1090 255
rect 1595 235 1650 255
rect 2255 290 2275 560
rect 2120 235 2175 255
<< metal1 >>
rect 1215 1660 1775 1670
rect 1215 1640 1225 1660
rect 1280 1640 1710 1660
rect 1765 1640 1775 1660
rect 1215 1630 1775 1640
rect -180 1600 855 1610
rect -180 1330 175 1600
rect 195 1330 225 1600
rect 245 1330 425 1600
rect 445 1330 625 1600
rect 645 1330 825 1600
rect 845 1330 855 1600
rect -180 1320 855 1330
rect -180 1190 -105 1200
rect -180 1170 -170 1190
rect -115 1170 -105 1190
rect -180 1160 -105 1170
rect 815 1080 855 1320
rect 1375 1290 1615 1300
rect 1375 1270 1385 1290
rect 1440 1270 1550 1290
rect 1605 1270 1615 1290
rect 1375 1260 1615 1270
rect 1575 1200 1615 1260
rect 1575 1190 1650 1200
rect 1575 1170 1585 1190
rect 1640 1170 1650 1190
rect 1575 1160 1650 1170
rect 1675 1140 1695 1630
rect 2010 1600 2290 1610
rect 2010 1330 2145 1600
rect 2165 1330 2290 1600
rect 2010 1320 2290 1330
rect 1310 1130 1750 1140
rect 1310 1110 1320 1130
rect 1375 1110 1685 1130
rect 1740 1110 1750 1130
rect 1310 1100 1750 1110
rect 2010 1080 2050 1320
rect -90 1070 2290 1080
rect -90 800 -80 1070
rect -60 800 920 1070
rect 940 800 970 1070
rect 990 800 1020 1070
rect 1040 800 1220 1070
rect 1240 800 1420 1070
rect 1440 800 1620 1070
rect 1640 800 1820 1070
rect 1840 800 2020 1070
rect 2040 800 2290 1070
rect -90 790 2290 800
rect 210 760 650 770
rect -180 735 -105 745
rect -180 715 -170 735
rect -115 715 -105 735
rect 210 740 220 760
rect 275 740 585 760
rect 640 740 650 760
rect 210 730 650 740
rect -180 705 -105 715
rect 575 660 650 730
rect 575 640 585 660
rect 640 640 650 660
rect 575 630 650 640
rect 2115 755 2290 765
rect 2115 735 2170 755
rect 2225 735 2290 755
rect 2115 725 2290 735
rect 2115 630 2155 725
rect 1325 620 2155 630
rect 1325 600 1335 620
rect 1390 600 1820 620
rect 1875 600 2155 620
rect 1325 590 2155 600
rect -180 560 2290 570
rect -180 290 -165 560
rect -145 290 35 560
rect 55 290 235 560
rect 255 290 435 560
rect 455 290 635 560
rect 655 290 835 560
rect 855 290 885 560
rect 905 290 935 560
rect 955 290 2255 560
rect 2275 290 2290 560
rect -180 280 2290 290
rect 1025 255 2185 265
rect 1025 235 1035 255
rect 1090 235 1595 255
rect 1650 235 2120 255
rect 2175 235 2185 255
rect 1025 225 2185 235
<< labels >>
rlabel metal1 -180 1465 -180 1465 7 VP
port 1 w
rlabel metal1 -180 425 -180 425 7 VN
port 2 w
rlabel locali -180 660 -180 660 7 Vbn
port 6 w
rlabel locali -180 1305 -180 1305 7 Vbp
port 3 w
rlabel locali 2290 670 2290 670 3 Vcn
port 9 e
rlabel metal1 -180 1180 -180 1180 7 V1
port 4 w
rlabel metal1 -180 725 -180 725 7 V2
port 5 w
rlabel metal1 2290 745 2290 745 3 Vout
port 8 e
rlabel locali 2055 1690 2055 1690 3 Vcp
port 7 e
<< end >>

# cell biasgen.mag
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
